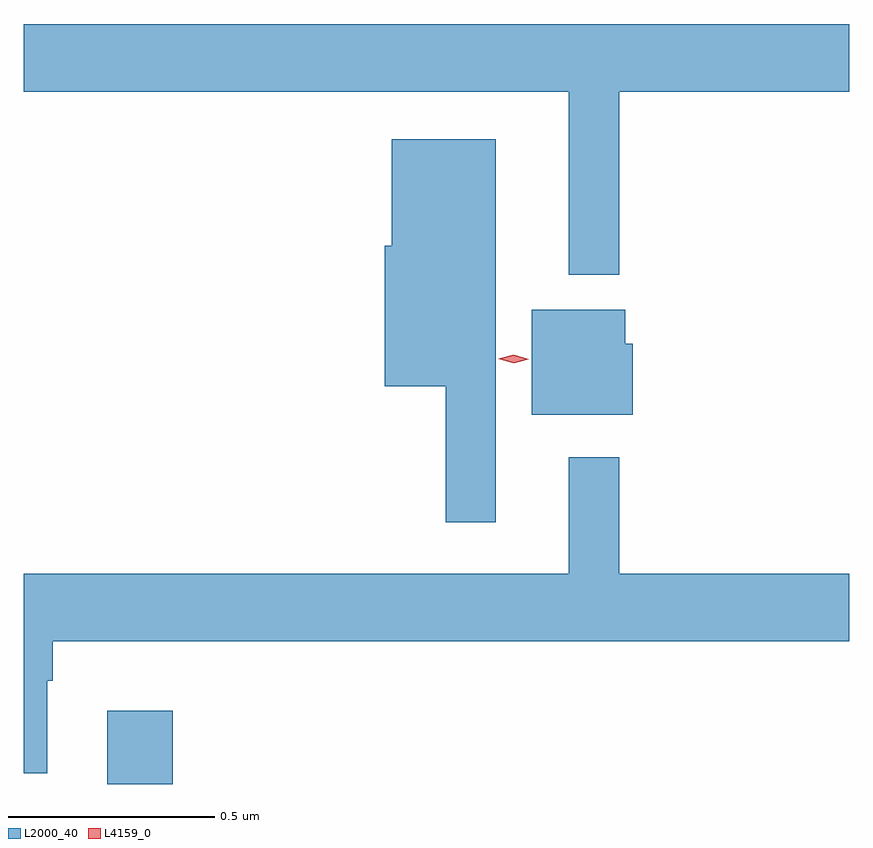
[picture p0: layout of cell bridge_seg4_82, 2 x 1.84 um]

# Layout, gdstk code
import gdstk
lib = gdstk.Library(unit=1e-6, precision=1e-09)
def R(c, l, rs):  # rectangles x0, y0, x1, y1
    for r in rs: c.add(gdstk.rectangle(r[:2], r[2:], *l))
def P(c, l, *ps):  # polygons
    for p in ps: c.add(gdstk.Polygon(p, *l))
L2000_40 = (2000, 40)
L4159_0 = (4159, 0)

bridge_seg4_82 = lib.new_cell('bridge_seg4_82')
R(bridge_seg4_82, L2000_40, [(377.126,800.47,377.285,800.647)])
P(bridge_seg4_82, L2000_40, [(378.367,802.148),(378.924,802.148),(378.924,802.312),(376.924,802.312),(376.924,802.148),(378.245,802.148),(378.245,801.704),(378.367,801.704)],
  [(378.067,802.033),(377.816,802.033),(377.816,801.774),(377.798,801.774),(377.798,801.434),(377.946,801.434),(377.946,801.105),(378.067,801.105)],
  [(378.4,801.537),(378.382,801.537),(378.382,801.619),(378.155,801.619),(378.155,801.365),(378.4,801.365)],
  [(376.981,800.72),(376.994,800.72),(376.994,800.816),(378.924,800.816),(378.924,800.98),(378.367,800.98),(378.367,801.262),(378.245,801.262),(378.245,800.98),(376.924,800.98),(376.924,800.496),(376.981,800.496)])
P(bridge_seg4_82, L4159_0, [(378.111,801.49),(378.074,801.501),(378.073,801.501),(378.074,801.501),(378.111,801.51),(378.148,801.499),(378.148,801.499),(378.148,801.499)])

lib.write_gds('bridge_seg4_82.gds')
